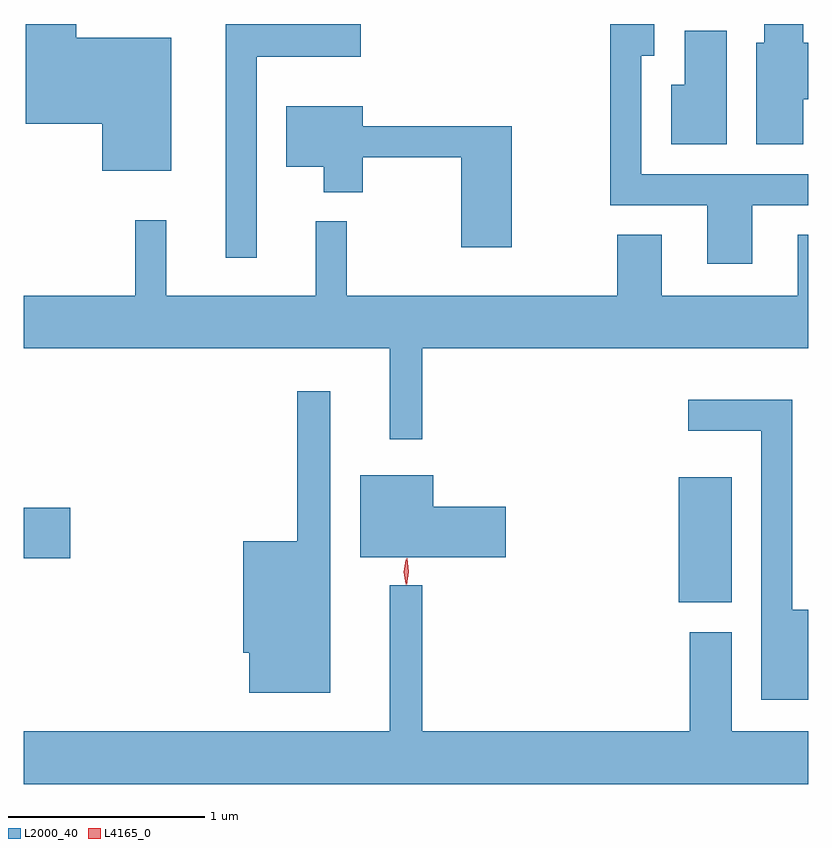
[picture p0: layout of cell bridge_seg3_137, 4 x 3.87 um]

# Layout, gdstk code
import gdstk
lib = gdstk.Library(unit=1e-6, precision=1e-09)
def R(c, l, rs):  # rectangles x0, y0, x1, y1
    for r in rs: c.add(gdstk.rectangle(r[:2], r[2:], *l))
def P(c, l, *ps):  # polygons
    for p in ps: c.add(gdstk.Polygon(p, *l))
L2000_40 = (2000, 40)
L4165_0 = (4165, 0)

bridge_seg3_137 = lib.new_cell('bridge_seg3_137')
R(bridge_seg3_137, L2000_40, [(826.136,1204.641,826.404,1205.279), (822.796,1204.866,823.034,1205.124)])
P(bridge_seg3_137, L2000_40, [(826.509,1206.666),(826.796,1206.666),(826.796,1206.824),(825.944,1206.824),(825.944,1207.426),(826.009,1207.426),(826.009,1207.589),(825.786,1207.589),(825.786,1206.666),(826.281,1206.666),(826.281,1206.366),(826.509,1206.366)],
  [(823.549,1207.519),(823.064,1207.519),(823.064,1207.589),(822.806,1207.589),(822.806,1207.081),(823.196,1207.081),(823.196,1206.841),(823.549,1206.841)],
  [(826.769,1207.206),(826.796,1207.206),(826.796,1207.494),(826.769,1207.494),(826.769,1207.589),(826.571,1207.589),(826.571,1207.494),(826.531,1207.494),(826.531,1206.976),(826.769,1206.976)],
  [(823.984,1207.421),(824.514,1207.421),(824.514,1207.589),(823.826,1207.589),(823.826,1206.398),(823.984,1206.398)],
  [(826.379,1207.554),(826.166,1207.554),(826.166,1207.279),(826.096,1207.279),(826.096,1206.976),(826.379,1206.976)],
  [(825.284,1207.069),(824.524,1207.069),(824.524,1207.169),(824.136,1207.169),(824.136,1206.861),(824.326,1206.861),(824.326,1206.731),(824.524,1206.731),(824.524,1206.911),(825.026,1206.911),(825.026,1206.451),(825.284,1206.451)],
  [(824.829,1205.936),(826.796,1205.936),(826.796,1206.514),(826.741,1206.514),(826.741,1206.204),(826.049,1206.204),(826.049,1206.514),(825.821,1206.514),(825.821,1206.204),(824.444,1206.204),(824.444,1206.583),(824.286,1206.583),(824.286,1206.204),(823.524,1206.204),(823.524,1206.588),(823.366,1206.588),(823.366,1206.204),(822.796,1206.204),(822.796,1205.936),(824.661,1205.936),(824.661,1205.473),(824.829,1205.473)],
  [(824.359,1205.718),(824.191,1205.718),(824.191,1204.954),(823.916,1204.954),(823.916,1204.386),(823.946,1204.386),(823.946,1204.181),(824.359,1204.181)],
  [(826.796,1204.604),(826.714,1204.604),(826.714,1205.674),(826.183,1205.674),(826.183,1205.516),(826.556,1205.516),(826.556,1204.146),(826.796,1204.146)],
  [(825.254,1205.129),(824.884,1205.129),(824.884,1205.289),(824.511,1205.289),(824.511,1204.871),(825.254,1204.871)],
  [(826.796,1203.984),(826.404,1203.984),(826.404,1204.489),(826.191,1204.489),(826.191,1203.984),(824.829,1203.984),(824.829,1204.728),(824.661,1204.728),(824.661,1203.984),(822.796,1203.984),(822.796,1203.716),(826.796,1203.716)])
P(bridge_seg3_137, L4165_0, [(824.748,1204.73),(824.739,1204.798),(824.75,1204.866),(824.75,1204.866),(824.751,1204.866),(824.759,1204.798),(824.749,1204.73),(824.749,1204.73)],
  [(824.744,1204.733),(824.744,1204.734),(824.734,1204.796),(824.744,1204.86),(824.744,1204.86),(824.745,1204.86),(824.754,1204.796),(824.745,1204.734)])

lib.write_gds('bridge_seg3_137.gds')
